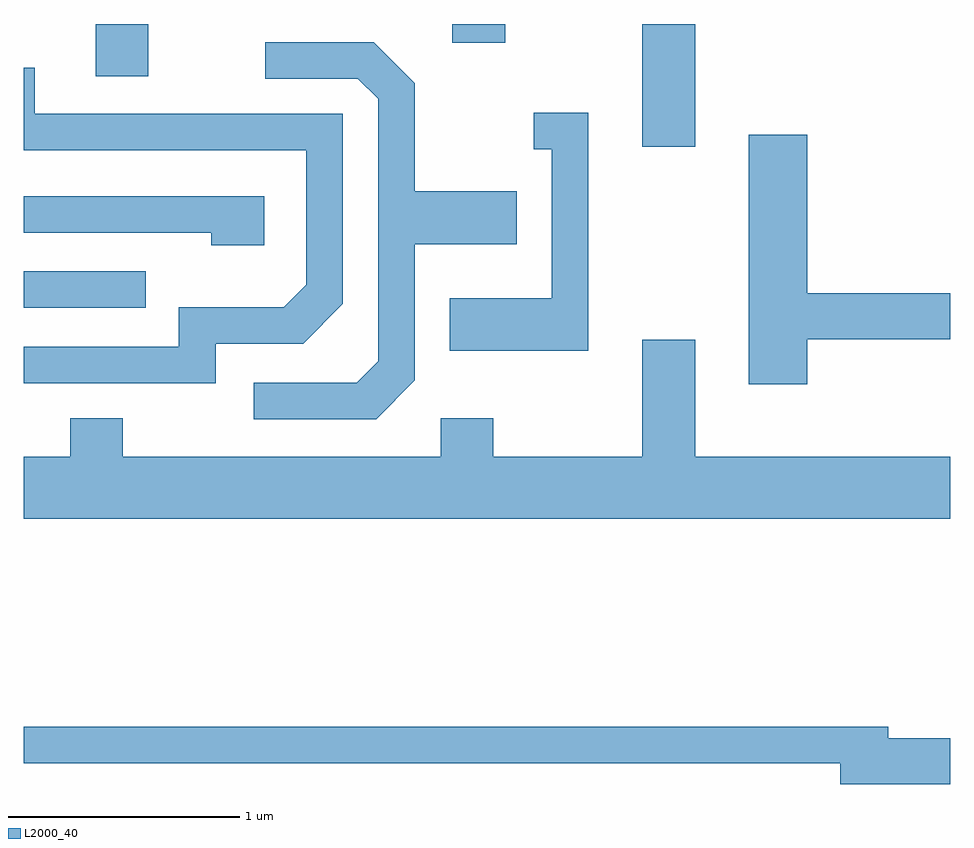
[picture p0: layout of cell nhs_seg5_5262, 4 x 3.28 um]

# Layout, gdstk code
import gdstk
lib = gdstk.Library(unit=1e-6, precision=1e-09)
def R(c, l, rs):  # rectangles x0, y0, x1, y1
    for r in rs: c.add(gdstk.rectangle(r[:2], r[2:], *l))
def P(c, l, *ps):  # polygons
    for p in ps: c.add(gdstk.Polygon(p, *l))
L2000_40 = (2000, 40)

nhs_seg5_5262 = lib.new_cell('nhs_seg5_5262')
R(nhs_seg5_5262, L2000_40, [(341.611,1428.846,342.138,1429.004), (344.281,1429.541,344.509,1430.072), (341.921,1429.846,342.149,1430.072), (343.461,1429.991,343.689,1430.072)])
P(nhs_seg5_5262, L2000_40, [(343.299,1428.534),(343.299,1429.121),(343.739,1429.121),(343.739,1429.349),(343.299,1429.349),(343.299,1429.817),(343.122,1429.994),(342.653,1429.994),(342.653,1429.836),(343.054,1429.836),(343.141,1429.749),(343.141,1428.617),(343.049,1428.524),(342.603,1428.524),(342.603,1428.366),(343.132,1428.366)],
  [(342.439,1428.691),(342.817,1428.691),(342.989,1428.864),(342.989,1429.684),(341.659,1429.684),(341.659,1429.883),(341.611,1429.883),(341.611,1429.526),(342.831,1429.526),(342.831,1428.947),(342.734,1428.849),(342.281,1428.849),(342.281,1428.679),(341.611,1428.679),(341.611,1428.521),(342.439,1428.521)],
  [(344.049,1429.689),(343.813,1429.689),(343.813,1429.531),(343.891,1429.531),(343.891,1428.889),(343.451,1428.889),(343.451,1428.661),(344.049,1428.661)],
  [(344.994,1428.711),(345.611,1428.711),(345.611,1428.909),(344.994,1428.909),(344.994,1429.594),(344.741,1429.594),(344.741,1428.516),(344.994,1428.516)],
  [(342.649,1429.329),(341.611,1429.329),(341.611,1429.171),(342.421,1429.171),(342.421,1429.116),(342.649,1429.116)],
  [(345.611,1428.204),(344.509,1428.204),(344.509,1428.709),(344.281,1428.709),(344.281,1428.204),(343.639,1428.204),(343.639,1428.369),(343.411,1428.369),(343.411,1428.204),(342.039,1428.204),(342.039,1428.369),(341.811,1428.369),(341.811,1428.204),(341.611,1428.204),(341.611,1427.936),(345.611,1427.936)],
  [(345.611,1426.989),(345.344,1426.989),(345.344,1427.039),(341.611,1427.039),(341.611,1426.881),(345.136,1426.881),(345.136,1426.791),(345.611,1426.791)])

lib.write_gds('nhs_seg5_5262.gds')
